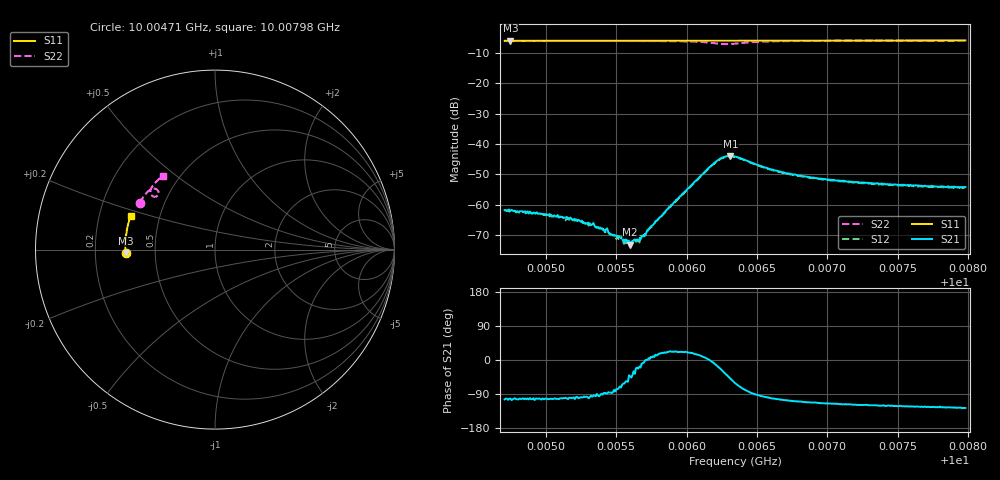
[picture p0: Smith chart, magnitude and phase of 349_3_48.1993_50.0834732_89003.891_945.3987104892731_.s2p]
#  HZ  S  RI  R  50.00
! Rohde & Schwarz Vector Network Analyzer
! Rohde-Schwarz,ZNB20-2Port,1311601062101988,3.16
! Created: UTC 3/20/2024, 11:51:44 AM
! freq[Hz]  re:S11  im:S11  re:S21  im:S21  re:S12  im:S12  re:S22  im:S22
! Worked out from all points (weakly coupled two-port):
!   401 points, 10.00471 GHz to 10.00798 GHz, reference 50 ohm
!   highest |S21| = -43.91 dB at 10.00631 GHz (marker M1); lowest = -73.1 dB at 10.0056 GHz (marker M2)
!   lowest |S11| = -6.0 dB at 10.00475 GHz (marker M3), VSWR 2.99, Z = 16.7 - j0.831 ohm
!   |S11| at or under -10 dB: nowhere
!   |S22| runs from -7.1 to -6.0 dB; largest |S21 - S12| = 0.00038
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1.0004706e10  -0.4986 -0.0212  -0.000197 -0.000794  -0.000138 -0.000794  -0.4192 0.2604
1.0004747e10  -0.4986 -0.0187  -0.000164 -0.000783  -0.000125 -0.00078  -0.4179 0.2627
1.0004919e10  -0.4994 -0.0074  -0.000195 -0.000697  -0.000138 -0.000731  -0.412 0.2728
1.0005017e10  -0.4996 -0.000963  -0.000156 -0.000659  -0.000102 -0.000662  -0.4084 0.2786
1.0005099e10  -0.4998 0.00427  -0.000124 -0.000627  -0.000129 -0.000621  -0.4053 0.2835
1.0005255e10  -0.4999 0.0144  -8.17e-05 -0.000543  -4.2e-05 -0.000544  -0.3993 0.2928
1.000532e10  -0.4999 0.0187  -3.38e-05 -0.000461  -4.98e-05 -0.00047  -0.3965 0.2966
1.0005394e10  -0.4999 0.0235  6.3e-06 -0.00041  -1.03e-06 -0.00044  -0.3933 0.3012
1.0005541e10  -0.4997 0.033  0.000124 -0.000273  0.000123 -0.000254  -0.3864 0.3102
1.0005599e10  -0.4995 0.0366  0.000163 -0.000151  0.000157 -0.000138  -0.3834 0.3137
1.0005648e10  -0.4993 0.0399  0.000262 -9.71e-05  0.00023 -0.000103  -0.3807 0.3167
1.0005689e10  -0.4991 0.0425  0.000303 -4.42e-05  0.000317 -2.07e-05  -0.3785 0.3193
1.0005738e10  -0.499 0.0458  0.000423 2.14e-05  0.000407 3.9e-05  -0.3753 0.3223
1.0005804e10  -0.4988 0.0499  0.000576 0.000172  0.000574 0.000224  -0.3709 0.3265
1.000618e10  -0.4961 0.0743  0.00452 -0.000355  0.00444 -0.000126  -0.3198 0.3313
1.0006246e10  -0.4955 0.0783  0.00531 -0.00252  0.0053 -0.00219  -0.3143 0.3124
1.0006312e10  -0.4949 0.0823  0.00413 -0.00486  0.00429 -0.00457  -0.3279 0.2957
1.0006344e10  -0.4948 0.0842  0.00302 -0.00546  0.00324 -0.00519  -0.3381 0.2942
1.0006606e10  -0.4926 0.1009  -0.000755 -0.00372  -0.000558 -0.0037  -0.3589 0.3314
1.0006893e10  -0.4892 0.1192  -0.00105 -0.00259  -0.000918 -0.0026  -0.3465 0.3559
1.0007442e10  -0.4806 0.1535  -0.00111 -0.00187  -0.000984 -0.00185  -0.3192 0.3867
1.0007983e10  -0.4698 0.1866  -0.00118 -0.00158  -0.00104 -0.00159  -0.2916 0.4109
